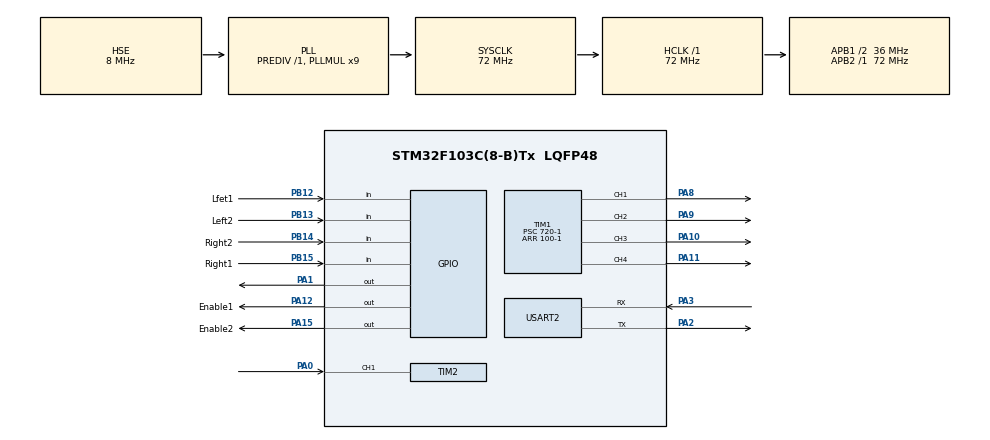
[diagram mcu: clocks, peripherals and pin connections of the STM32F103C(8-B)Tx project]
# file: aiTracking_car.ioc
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Mcu.Family=STM32F1
Mcu.Name=STM32F103C(8-B)Tx
Mcu.Package=LQFP48
NVIC.PriorityGroup=NVIC_PRIORITYGROUP_4
NVIC.TIM3_IRQn=true\:0\:0\:false\:false\:true\:true\:true\:true
PA0-WKUP.Signal=S_TIM2_CH1_ETR
PA1.Signal=GPIO_Output
PA10.Signal=S_TIM1_CH3
PA11.Signal=S_TIM1_CH4
PA12.GPIO_Label=Enable1
PA12.PinState=GPIO_PIN_SET
PA12.Signal=GPIO_Output
PA13.Mode=Serial_Wire
PA13.Signal=SYS_JTMS-SWDIO
PA14.Mode=Serial_Wire
PA14.Signal=SYS_JTCK-SWCLK
PA15.GPIO_Label=Enable2
PA15.PinState=GPIO_PIN_SET
PA15.Signal=GPIO_Output
PA2.Mode=Asynchronous
PA2.Signal=USART2_TX
PA3.Mode=Asynchronous
PA3.Signal=USART2_RX
PA8.Signal=S_TIM1_CH1
PA9.Signal=S_TIM1_CH2
PB12.GPIO_Label=Lfet1
PB12.Signal=GPIO_Input
PB13.GPIO_Label=Left2
PB13.Signal=GPIO_Input
PB14.GPIO_Label=Right2
PB14.Signal=GPIO_Input
PB15.GPIO_Label=Right1
PB15.Signal=GPIO_Input
PD0-OSC_IN.Mode=HSE-External-Oscillator
PD0-OSC_IN.Signal=RCC_OSC_IN
PD1-OSC_OUT.Mode=HSE-External-Oscillator
PD1-OSC_OUT.Signal=RCC_OSC_OUT
ProjectManager.HeapSize=0x200
ProjectManager.StackSize=0x400
ProjectManager.TargetToolchain=CMake
RCC.AHBFreq_Value=72000000
RCC.APB1CLKDivider=RCC_HCLK_DIV2
RCC.APB1Freq_Value=36000000
RCC.APB1TimFreq_Value=72000000
RCC.APB2Freq_Value=72000000
RCC.APB2TimFreq_Value=72000000
RCC.HCLKFreq_Value=72000000
RCC.PLLMUL=RCC_PLL_MUL9
RCC.PLLSourceVirtual=RCC_PLLSOURCE_HSE
RCC.SYSCLKFreq_VALUE=72000000
RCC.SYSCLKSource=RCC_SYSCLKSOURCE_PLLCLK
RCC.USBFreq_Value=72000000
SH.S_TIM1_CH1.0=TIM1_CH1,PWM Generation1 CH1
SH.S_TIM1_CH2.0=TIM1_CH2,PWM Generation2 CH2
SH.S_TIM1_CH3.0=TIM1_CH3,PWM Generation3 CH3
SH.S_TIM1_CH4.0=TIM1_CH4,PWM Generation4 CH4
SH.S_TIM2_CH1_ETR.0=TIM2_CH1,Input_Capture1_from_TI1
SH.S_TIM2_CH1_ETR.1=TIM2_CH1,Input_Capture2_from_TI1
SH.S_TIM2_CH1_ETR.2=TIM2_CH1,TriggerSource_TI1FP1
TIM1.Channel-PWM\ Generation1\ CH1=TIM_CHANNEL_1
TIM1.Channel-PWM\ Generation2\ CH2=TIM_CHANNEL_2
TIM1.Channel-PWM\ Generation3\ CH3=TIM_CHANNEL_3
TIM1.Channel-PWM\ Generation4\ CH4=TIM_CHANNEL_4
TIM1.Period=100-1
TIM1.Prescaler=720-1
TIM2.AutoReloadPreload=TIM_AUTORELOAD_PRELOAD_ENABLE
TIM2.Channel-Input_Capture1_from_TI1=TIM_CHANNEL_1
TIM2.Channel-Input_Capture2_from_TI1=TIM_CHANNEL_2
TIM2.Period=10000-1
TIM2.Prescaler=7200-1
TIM3.AutoReloadPreload=TIM_AUTORELOAD_PRELOAD_ENABLE
TIM3.Period=10000-1
TIM3.Prescaler=7200-1
USART2.VirtualMode=VM_ASYNC
VP_TIM1_VS_ClockSourceINT.Mode=Internal
VP_TIM2_VS_ClockSourceINT.Mode=Internal
VP_TIM2_VS_ControllerModeReset.Mode=Reset Mode
VP_TIM3_VS_ClockSourceINT.Mode=Internal
board=custom

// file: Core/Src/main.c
/* USER CODE BEGIN Header */
/**
  ******************************************************************************
  * @file           : main.c
  * @brief          : Main program body
  ******************************************************************************
  */
/* USER CODE END Header */
#include "main.h"
#include "tim.h"
#include "usart.h"
#include "gpio.h"

/* USER CODE BEGIN Includes */
#include "ir_sensor.h"
#include "CarGo.h"
#include "stdio.h"
#include "string.h"
/* USER CODE END Includes */

/* USER CODE BEGIN PTD */
typedef enum {
    STATE_LINE_TRACKING  = 0,  // 巡线
    STATE_WAITING_CMD    = 1,  // 发送begin，等待RK3588返回指令
    STATE_POST_JUNCTION  = 2,  // 越过路口状态，防止重复触发黑线
    STATE_FINISHED       = 3   // 到达终点，停止
} CarState_t;
/* USER CODE END PTD */

/* USER CODE BEGIN PD */
#define CMD_MAX_LEN        20    // 接收缓冲区大小
#define JUNCTION_BLACK     1     // 压黑线
#define RECEIVE_TIMEOUT    5000  // 等待视觉指令的超时时间 (ms)
#define JUNCTION_DEBOUNCE  1     // 连续几次全黑才确认十字路口
#define POST_JUNCTION_MS   450   // 越过十字路口盲开时间 (ms)
/* USER CODE END PD */

/* USER CODE BEGIN PV */
CarState_t car_state = STATE_LINE_TRACKING;
uint8_t    junction_cnt = 0;
uint32_t   post_junc_tick = 0;
/* USER CODE END PV */

void SystemClock_Config(void);
/* USER CODE BEGIN PFP */
void    UART_SendString(const char *str);
uint8_t UART_ReceiveCommand(char *cmd, uint16_t timeout_ms);
uint8_t ExecuteCommand(const char *cmd);
/* USER CODE END PFP */

int main(void)
{

  /* MCU Configuration--------------------------------------------------------*/
  HAL_Init();

  SystemClock_Config();

  MX_GPIO_Init();
  MX_TIM1_Init();
  MX_TIM2_Init();
  MX_TIM3_Init();
  MX_USART2_UART_Init();

  /* USER CODE BEGIN 2 */
  MotorInit();
  HAL_TIM_Base_Start_IT(&htim3);
  UART_SendString("Car ready\n");
  /* USER CODE END 2 */

  /* Infinite loop */
  while (1)
  {

    /* USER CODE BEGIN 3 */
    int L1, L2, R2, R1;
    IR_Read(&L1, &L2, &R2, &R1);

    //巡线
    if (car_state == STATE_LINE_TRACKING)
    {
        // 路口
        int all_black = (L1 == JUNCTION_BLACK && L2 == JUNCTION_BLACK &&
                         R2 == JUNCTION_BLACK && R1 == JUNCTION_BLACK);

        if (all_black)
        {
            junction_cnt++;
            if (junction_cnt >= JUNCTION_DEBOUNCE)
            {
                CarStop();
                HAL_Delay(200);
                UART_SendString("begin");
                car_state = STATE_WAITING_CMD;
                junction_cnt = 0;
                continue;
            }
        }
        else
        {
            junction_cnt = 0;

            int track = IR_GetCarState();
            switch (track)
            {
                case 1: CarAhead(90, 90); break;
                case 2: Left(30, 80);     break;
                case 3: Right(80, 30);    break;
                case 4: Left(80, 80);     break;
                case 5: Right(80, 80);    break;
                case 0:
                default: CarStop(); break;
            }
        }
    }
    // 等待 RK3588 返回指令
    else if (car_state == STATE_WAITING_CMD)
    {
        char command[CMD_MAX_LEN] = {0};

        if (UART_ReceiveCommand(command, RECEIVE_TIMEOUT))
        {
            // 收到指令：stop → 终点，其他 → 执行后继续
            if (ExecuteCommand(command) == 0)
            {
                car_state = STATE_FINISHED;
                continue;
            }
        }
        else
        {
            // 超时默认直行
            ExecuteCommand("go_straight");
        }

        post_junc_tick = HAL_GetTick();
        car_state = STATE_POST_JUNCTION;
    }
    //  盲开越过路口
    else if (car_state == STATE_POST_JUNCTION)
    {
        CarAhead(80, 80);
        if ((HAL_GetTick() - post_junc_tick) >= POST_JUNCTION_MS)
        {
            car_state = STATE_LINE_TRACKING;
        }
    }
    // 到达终点
    else if (car_state == STATE_FINISHED)
    {
        CarStop();
    }

    HAL_Delay(10);
  }
  /* USER CODE END 3 */
}

void SystemClock_Config(void)
{
  RCC_OscInitTypeDef RCC_OscInitStruct = {0};
  RCC_ClkInitTypeDef RCC_ClkInitStruct = {0};

  RCC_OscInitStruct.OscillatorType = RCC_OSCILLATORTYPE_HSE;
  RCC_OscInitStruct.HSEState = RCC_HSE_ON;
  RCC_OscInitStruct.HSEPredivValue = RCC_HSE_PREDIV_DIV1;
  RCC_OscInitStruct.HSIState = RCC_HSI_ON;
  RCC_OscInitStruct.PLL.PLLState = RCC_PLL_ON;
  RCC_OscInitStruct.PLL.PLLSource = RCC_PLLSOURCE_HSE;
  RCC_OscInitStruct.PLL.PLLMUL = RCC_PLL_MUL9;
  if (HAL_RCC_OscConfig(&RCC_OscInitStruct) != HAL_OK)
  {
    Error_Handler();
  }

  RCC_ClkInitStruct.ClockType = RCC_CLOCKTYPE_HCLK|RCC_CLOCKTYPE_SYSCLK
                              |RCC_CLOCKTYPE_PCLK1|RCC_CLOCKTYPE_PCLK2;
  RCC_ClkInitStruct.SYSCLKSource = RCC_SYSCLKSOURCE_PLLCLK;
  RCC_ClkInitStruct.AHBCLKDivider = RCC_SYSCLK_DIV1;
  RCC_ClkInitStruct.APB1CLKDivider = RCC_HCLK_DIV2;
  RCC_ClkInitStruct.APB2CLKDivider = RCC_HCLK_DIV1;

  if (HAL_RCC_ClockConfig(&RCC_ClkInitStruct, FLASH_LATENCY_2) != HAL_OK)
  {
    Error_Handler();
  }
}

/* USER CODE BEGIN 4 */

/**
  * @brief
  */
void UART_SendString(const char *str)
{
    HAL_UART_Transmit(&huart2, (uint8_t *)str, strlen(str), 100);
}

/**
  * @brief  逐字节阻塞接收，遇换行符结束，超时返回 0
  * @param  cmd: 接收缓冲区
  * @param  timeout_ms: 超时时间
  * @retval 1=成功  0=超时
  */
uint8_t UART_ReceiveCommand(char *cmd, uint16_t timeout_ms)
{
    memset(cmd, 0, CMD_MAX_LEN);
    uint8_t  idx = 0;
    uint32_t start_tick = HAL_GetTick();

    while (1)
    {
        // 整体超时检查
        if ((HAL_GetTick() - start_tick) > timeout_ms)
        {
            return 0;
        }

        uint8_t ch;
        // 单字节 10ms 超时，不会死等
        if (HAL_UART_Receive(&huart2, &ch, 1, 10) == HAL_OK)
        {
            if (ch == '\n' || ch == '\r')
            {
                cmd[idx] = '\0';
                return 1;
            }
            if (ch >= ' ' && ch <= '~')
            {
                if (idx < CMD_MAX_LEN - 1)
                    cmd[idx++] = ch;
            }
        }

    }
}

/**
  * @brief  执行 RK3588 发来的指令
  * @retval 1=继续运行  0=收到 stop，永久停车
  */
uint8_t ExecuteCommand(const char *cmd)
{
    if (strlen(cmd) == 0) return 1;

    if (strcmp(cmd, "turn_right") == 0)
    {
        Right(80, 80);
        HAL_Delay(600);
    }
    else if (strcmp(cmd, "turn_left") == 0)
    {
        Left(80, 80);
        HAL_Delay(600);
    }
    else if (strcmp(cmd, "go_straight") == 0)
    {
        CarAhead(90, 90);
        HAL_Delay(300);
    }
    else if (strcmp(cmd, "stop") == 0)
    {
        CarStop();
        return 0;
    }
    else
    {
        // 未知指令，默认直行
        CarAhead(80, 80);
        HAL_Delay(300);
    }

    return 1;
}

void HAL_TIM_PeriodElapsedCallback(TIM_HandleTypeDef *htim)
{
    if (htim->Instance == TIM3)
    {
        // User timer callback
    }
}

/* USER CODE END 4 */

void Error_Handler(void)
{
}
